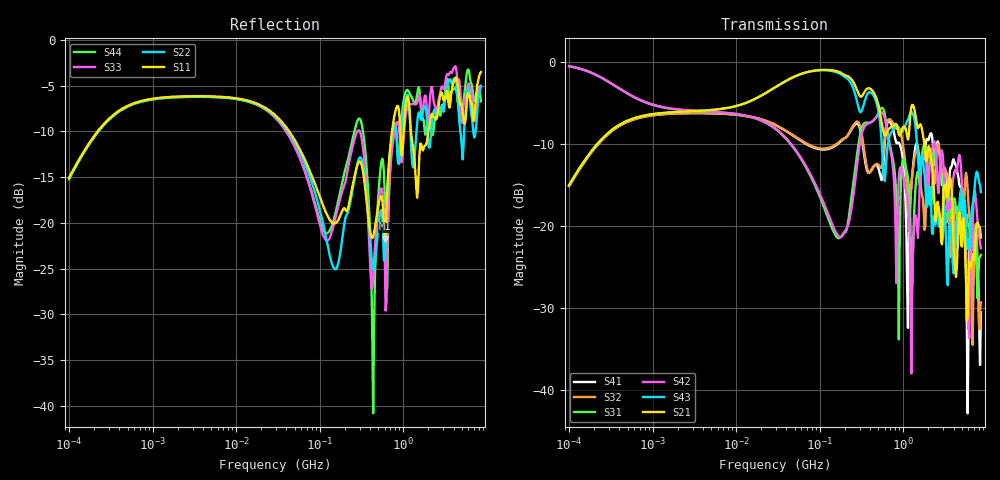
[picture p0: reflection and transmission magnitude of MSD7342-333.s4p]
# MHz S MA R 50
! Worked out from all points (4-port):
!   498 points, 100 kHz to 8.5 GHz, reference 50 ohm
!   strongest paths, dB at 100 kHz, 1.698 MHz, 29.49 MHz, 500.7 MHz, 8.5 GHz:
!     S21: -15.0, -6.1, -3.1, -5.1, -21.4
!     S43: -15.0, -6.1, -3.0, -5.8, -15.9
!     S42: -0.5, -5.7, -8.1, -6.4, -22.8
!     S31: -0.5, -5.7, -8.2, -6.3, -23.6
!     S32: -15.1, -6.3, -7.7, -12.5, -29.4
!     S41: -15.1, -6.3, -7.7, -12.9, -30.6
!   lowest |S11| = -21.8 dB at 601 MHz (marker M1), VSWR 1.18, Z = 58.9 + j0.835 ohm
!   |S11| at or under -10 dB: 43.08 MHz to 733.3 MHz (690.2 MHz wide, 178 % of centre); 921.9 MHz to 1.011 GHz (89.29 MHz wide, 9.24 % of centre); 1.238 GHz to 2.001 GHz (762.4 MHz wide, 47.1 % of centre)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
0.1  0.1753 68.0  0.1773 68.6  0.9425 -10.1  0.1749 -111.6
     0.1773 68.6  0.1728 68.0  0.1753 -111.7  0.9439 -10.0
     0.9425 -10.1  0.1753 -111.7  0.1772 67.9  0.1778 68.6
     0.1749 -111.6  0.9439 -10.0  0.1778 68.6  0.1745 68.1
86.26428  0.1669 -62.5  0.8865 -11.3  0.1801 -94.5  0.2994 81.7
          0.8865 -11.3  0.1498 -71.8  0.3031 77.8  0.1853 -92.6
          0.1801 -94.5  0.3031 77.8  0.1277 -60.6  0.8846 -14.0
          0.2994 81.7  0.1853 -92.6  0.8846 -14.0  0.1322 -54.4
601.0223  0.08173 4.9  0.3551 -117.2  0.4812 -96.8  0.3213 -39.0
          0.3551 -117.2  0.06235 25.1  0.3543 -43.3  0.4527 -96.0
          0.4812 -96.8  0.3543 -43.3  0.0676 -110.5  0.1877 -112.9
          0.3213 -39.0  0.4527 -96.0  0.1877 -112.9  0.142 -110.4
1248.181  0.3028 178.6  0.53 174.7  0.05739 156.7  0.1746 -118.2
          0.53 174.7  0.251 -167.6  0.1749 -157.4  0.01253 -170.7
          0.05739 156.7  0.1749 -157.4  0.4451 -133.5  0.4952 148.3
          0.1746 -118.2  0.01253 -170.7  0.4952 148.3  0.4917 -158.1
2905.739  0.5145 -16.6  0.07707 -33.7  0.2047 -59.7  0.1771 -64.5
          0.07707 -33.7  0.4327 -11.7  0.2101 -64.0  0.2888 -65.7
          0.2047 -59.7  0.2101 -64.0  0.557 -11.9  0.0792 -65.8
          0.1771 -64.5  0.2888 -65.7  0.0792 -65.8  0.4406 -26.0
4187.455  0.6135 -177.1  0.05417 134.5  0.1414 137.0  0.237 117.5
          0.05417 134.5  0.6211 174.7  0.07836 129.4  0.2194 123.0
          0.1414 137.0  0.07836 129.4  0.719 169.1  0.06652 -87.2
          0.237 117.5  0.2194 123.0  0.06652 -87.2  0.5486 172.0
8500  0.6674 -55.3  0.0847 14.6  0.06635 -21.7  0.02957 -4.2
      0.0847 14.6  0.5569 -62.6  0.03407 -41.6  0.07284 -96.8
      0.06635 -21.7  0.03407 -41.6  0.5624 -60.2  0.1606 -31.1
      0.02957 -4.2  0.07284 -96.8  0.1606 -31.1  0.4618 -88.4
